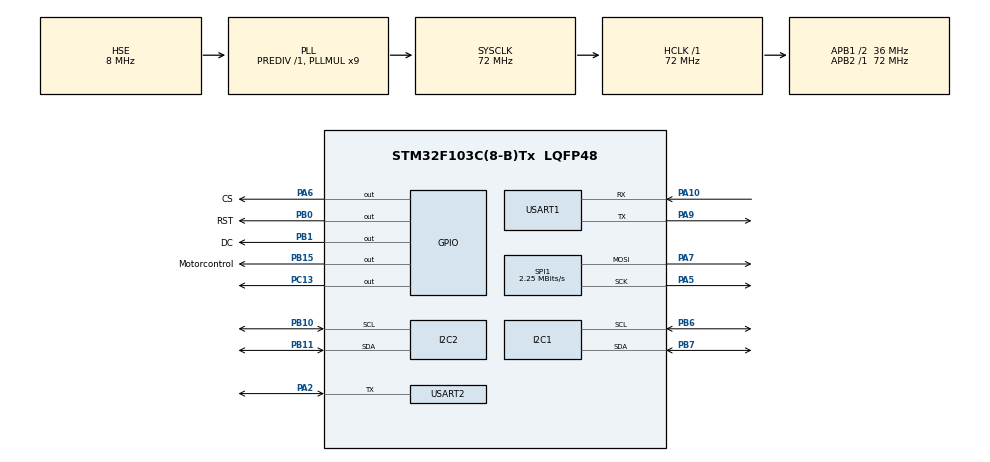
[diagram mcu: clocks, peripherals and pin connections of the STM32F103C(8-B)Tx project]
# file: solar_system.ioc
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IWDG.Prescaler=IWDG_PRESCALER_256
IWDG.Reload=3749
Mcu.Family=STM32F1
Mcu.Name=STM32F103C(8-B)Tx
Mcu.Package=LQFP48
NVIC.PriorityGroup=NVIC_PRIORITYGROUP_4
NVIC.TIM2_IRQn=true\:0\:0\:false\:false\:true\:true\:true\:true
NVIC.USART1_IRQn=true\:0\:0\:false\:false\:true\:true\:true\:true
NVIC.USART2_IRQn=true\:0\:0\:false\:false\:true\:true\:true\:true
PA10.Mode=Asynchronous
PA10.Signal=USART1_RX
PA2.Mode=Half_duplex(single_wire_mode)
PA2.Signal=USART2_TX
PA5.Mode=TX_Only_Simplex_Unidirect_Master
PA5.Signal=SPI1_SCK
PA6.GPIO_Label=CS
PA6.GPIO_Speed=GPIO_SPEED_FREQ_HIGH
PA6.Signal=GPIO_Output
PA7.Mode=TX_Only_Simplex_Unidirect_Master
PA7.Signal=SPI1_MOSI
PA9.Mode=Asynchronous
PA9.Signal=USART1_TX
PB0.GPIO_Label=RST
PB0.GPIO_Speed=GPIO_SPEED_FREQ_HIGH
PB0.Signal=GPIO_Output
PB1.GPIO_Label=DC
PB1.GPIO_Speed=GPIO_SPEED_FREQ_HIGH
PB1.Signal=GPIO_Output
PB10.Mode=I2C
PB10.Signal=I2C2_SCL
PB11.Mode=I2C
PB11.Signal=I2C2_SDA
PB15.GPIO_Label=Motorcontrol
PB15.GPIO_PuPd=GPIO_PULLDOWN
PB15.Signal=GPIO_Output
PB6.Mode=I2C
PB6.Signal=I2C1_SCL
PB7.Mode=I2C
PB7.Signal=I2C1_SDA
PC13-TAMPER-RTC.Signal=GPIO_Output
PD0-OSC_IN.Mode=HSE-External-Oscillator
PD0-OSC_IN.Signal=RCC_OSC_IN
PD1-OSC_OUT.Mode=HSE-External-Oscillator
PD1-OSC_OUT.Signal=RCC_OSC_OUT
ProjectManager.HeapSize=0x200
ProjectManager.StackSize=0x400
ProjectManager.TargetToolchain=STM32CubeIDE
RCC.AHBFreq_Value=72000000
RCC.APB1CLKDivider=RCC_HCLK_DIV2
RCC.APB1Freq_Value=36000000
RCC.APB1TimFreq_Value=72000000
RCC.APB2Freq_Value=72000000
RCC.APB2TimFreq_Value=72000000
RCC.HCLKFreq_Value=72000000
RCC.PLLMUL=RCC_PLL_MUL9
RCC.PLLSourceVirtual=RCC_PLLSOURCE_HSE
RCC.SYSCLKFreq_VALUE=72000000
RCC.SYSCLKSource=RCC_SYSCLKSOURCE_PLLCLK
RCC.USBFreq_Value=72000000
SPI1.BaudRatePrescaler=SPI_BAUDRATEPRESCALER_32
SPI1.CalculateBaudRate=2.25 MBits/s
SPI1.Direction=SPI_DIRECTION_2LINES
SPI1.Mode=SPI_MODE_MASTER
SPI1.VirtualType=VM_MASTER
TIM2.Period=9999
TIM2.Prescaler=7199
USART1.VirtualMode=VM_ASYNC
USART2.VirtualMode=VM_ASYNC
VP_IWDG_VS_IWDG.Mode=IWDG_Activate
VP_TIM2_VS_ClockSourceINT.Mode=Internal
board=custom

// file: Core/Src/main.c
/* USER CODE BEGIN Header */
/**
  ******************************************************************************
  * @file           : main.c
  * @brief          : Main program body
  ******************************************************************************
  * @attention
  *
  * Copyright (c) 2026 STMicroelectronics.
  * All rights reserved.
  *
  * This software is licensed under terms that can be found in the LICENSE file
  * in the root directory of this software component.
  * If no LICENSE file comes with this software, it is provided AS-IS.
  *
  ******************************************************************************
  */
/* USER CODE END Header */
#include "main.h"
#include "i2c.h"
#include "iwdg.h"
#include "spi.h"
#include "tim.h"
#include "usart.h"
#include "gpio.h"

/* USER CODE BEGIN Includes */
# include "ST7735.h"
# include "GFX_FUNCTIONS.h"
# include "stdio.h"
# include "ina226.h"
# include "OneWire.h"
#include "bh1750.h"
#include "ESP8266_STM32.h"
#include "stdlib.h"

/* USER CODE END Includes */

/* USER CODE BEGIN PV */
uint8_t opeCode;
uint8_t g_ucaDataBuff[2];
float ftmp;
extern uint32_t read_DATA[5];
/* USER CODE END PV */

void SystemClock_Config(void);

/* USER CODE BEGIN 0 */
extern float Temp[MAXDEVICES_ON_THE_BUS];

extern uint32_t read_DATA[5];
char str_V[30],str_I[30],str_P[30],str_temper[40],str_Lux[30],str_data[50],str_spray[20],str_time[40];
float current,voltage,power;
uint16_t status0=0;

void sleep(){
	uint32_t timer=0;
//	printf("sleep\r\n");

    fillScreen(BLACK);
    ST7735_WriteString(10, 2, "SLEEPING...",Font_7x10, WHITE, BLACK);

	while(timer<3600){
	HAL_IWDG_Refresh(&hiwdg);
	HAL_Delay(1000);
	timer++;
	}
	status0 = 0;
    BKP->DR2 = status0;

}
/* USER CODE END 0 */

int main(void)
{

  /* MCU Configuration--------------------------------------------------------*/

  /* Reset of all peripherals, Initializes the Flash interface and the Systick. */
  HAL_Init();

  /* Configure the system clock */
  SystemClock_Config();

  /* Initialize all configured peripherals */
  MX_GPIO_Init();
  MX_I2C1_Init();
  MX_SPI1_Init();
  MX_USART2_UART_Init();
  MX_I2C2_Init();
  MX_USART1_UART_Init();
  MX_TIM2_Init();
  MX_IWDG_Init();
  /* USER CODE BEGIN 2 */

  INA226_init();
  ST7735_Init(0);

  fillScreen(BLACK);

  get_ROMid();

  BH1750_Init();
  opeCode= BH1750_CONT_HI_RSLT_1;
  BH1750_WriteOpecode(&opeCode,1);

  HAL_IWDG_Refresh(&hiwdg);

    __HAL_RCC_PWR_CLK_ENABLE();
    __HAL_RCC_BKP_CLK_ENABLE();

    HAL_PWR_EnableBkUpAccess();
//

      if (__HAL_RCC_GET_FLAG(RCC_FLAG_IWDGRST) != RESET)
      {

          status0 = BKP->DR2;

          __HAL_RCC_CLEAR_RESET_FLAGS();
      }
      else
      {

    		status0 = 0;
    	    BKP->DR2 = status0;
          __HAL_RCC_CLEAR_RESET_FLAGS();
      }

      HAL_GPIO_WritePin(GPIOB, GPIO_PIN_15, 0);
    fillScreen(BLACK);
    ST7735_WriteString(0, 2, "START RUNNING",Font_7x10, WHITE, BLACK);
    HAL_Delay(1000);

    HAL_Delay(1000);
    HAL_IWDG_Refresh(&hiwdg);

    char buf[30]="";
   	status0++;
   	BKP->DR2 = status0;
   	sprintf(buf,"restart num-> %u",status0);
   	ST7735_WriteString(2, 30, buf,Font_7x10, WHITE, BLACK);
   if (status0>3)sleep();

   HAL_IWDG_Refresh(&hiwdg);

   ESP_Init();
   fillScreen(BLACK);
  ST7735_WriteString(0, 2, "wifi connected",Font_7x10, WHITE, BLACK);
HAL_Delay(500);

HAL_IWDG_Refresh(&hiwdg);
fillScreen(BLACK);
ST7735_WriteString(2, 20, "ready to building connection",Font_11x18, WHITE, BLACK);
HAL_Delay(500);
if (stupid_SCAU("SCAUNET")!=ESP8266_OK){
	while(1);

}

  while (1)
  {
	  get_Temperature();

      BH1750_ReadData(g_ucaDataBuff,2);
      ftmp = (g_ucaDataBuff[0]<<8 | g_ucaDataBuff[1]) / 1.2f + 0.5f;

      voltage=INA226_GetBusV();
      current=INA226_GetCurrent();
      power=INA226_GetPower();

//      ESP_interact_once("1.1.1.1",Temp[0],Temp[1],Temp[2],Temp[4],Temp[3],ftmp,current, power, voltage);
      if(Interaction("1.2.3.4",1234,Temp[0],Temp[1],Temp[2],Temp[4],Temp[3],ftmp,current, power, voltage)==ESP8266_OK)
      {HAL_IWDG_Refresh(&hiwdg);
		status0 = 0;
	    BKP->DR2 = status0;

	  	  if (read_DATA[2]==1){
	  		  HAL_GPIO_WritePin(GPIOB, GPIO_PIN_15, 1);
	  	  }
	  	  else HAL_GPIO_WritePin(GPIOB, GPIO_PIN_15, 0);

      }
      else HAL_GPIO_WritePin(GPIOB, GPIO_PIN_15, 0);

/

	  	sprintf(str_V,"voltage: %.2f",voltage);
	  	sprintf(str_I,"current: %.2f",current);
	  	sprintf(str_P,"power: %.2f",power);
	  	sprintf(str_Lux,"illum %.2f",ftmp);
	  	sprintf(str_temper,"%.2f,%.2f,%.2f,%.2f,%.2f",Temp[0],Temp[1],Temp[2],Temp[3],Temp[4]);
	  	sprintf(str_spray,"is_spray -> %lu",read_DATA[2]);
	  	sprintf(str_time,"%lu--%lu",read_DATA[0],read_DATA[1]);

	  	  fillScreen(BLACK);
	  	  ST7735_WriteString(2, 2, str_V,Font_7x10, BLUE, BLACK);
	  	  ST7735_WriteString(2, 17, str_I,Font_7x10, BLUE, BLACK);
	  	  ST7735_WriteString(2, 32,str_P,Font_7x10, BLUE, BLACK);
	  	ST7735_WriteString(2, 47,str_Lux,Font_7x10, WHITE, BLACK);
	  	ST7735_WriteString(2, 62,"temperature",Font_7x10, WHITE, BLACK);
	  	ST7735_WriteString(2, 77,str_temper,Font_7x10, WHITE, BLACK);
	  	ST7735_WriteString(2, 107,"VPS connected",Font_7x10, GREEN, BLACK);

//	  	ST7735_WriteString(2, 125,str_time,Font_7x10, WHITE, BLACK);
//	  	ST7735_WriteString(2, 145,str_spray,Font_7x10, WHITE, BLACK);

	  	  HAL_GPIO_TogglePin(GPIOC, GPIO_PIN_13);

	  	  HAL_Delay(200);
    /* USER CODE END WHILE */

  }
}

void SystemClock_Config(void)
{
  RCC_OscInitTypeDef RCC_OscInitStruct = {0};
  RCC_ClkInitTypeDef RCC_ClkInitStruct = {0};

  /** Initializes the RCC Oscillators according to the specified parameters
  * in the RCC_OscInitTypeDef structure.
  */
  RCC_OscInitStruct.OscillatorType = RCC_OSCILLATORTYPE_LSI|RCC_OSCILLATORTYPE_HSE;
  RCC_OscInitStruct.HSEState = RCC_HSE_ON;
  RCC_OscInitStruct.HSEPredivValue = RCC_HSE_PREDIV_DIV1;
  RCC_OscInitStruct.HSIState = RCC_HSI_ON;
  RCC_OscInitStruct.LSIState = RCC_LSI_ON;
  RCC_OscInitStruct.PLL.PLLState = RCC_PLL_ON;
  RCC_OscInitStruct.PLL.PLLSource = RCC_PLLSOURCE_HSE;
  RCC_OscInitStruct.PLL.PLLMUL = RCC_PLL_MUL9;
  if (HAL_RCC_OscConfig(&RCC_OscInitStruct) != HAL_OK)
  {
    Error_Handler();
  }

  /** Initializes the CPU, AHB and APB buses clocks
  */
  RCC_ClkInitStruct.ClockType = RCC_CLOCKTYPE_HCLK|RCC_CLOCKTYPE_SYSCLK
                              |RCC_CLOCKTYPE_PCLK1|RCC_CLOCKTYPE_PCLK2;
  RCC_ClkInitStruct.SYSCLKSource = RCC_SYSCLKSOURCE_PLLCLK;
  RCC_ClkInitStruct.AHBCLKDivider = RCC_SYSCLK_DIV1;
  RCC_ClkInitStruct.APB1CLKDivider = RCC_HCLK_DIV2;
  RCC_ClkInitStruct.APB2CLKDivider = RCC_HCLK_DIV1;

  if (HAL_RCC_ClockConfig(&RCC_ClkInitStruct, FLASH_LATENCY_2) != HAL_OK)
  {
    Error_Handler();
  }
}

void Error_Handler(void)
{
  __disable_irq();
  while (1)
  {
  }
}
